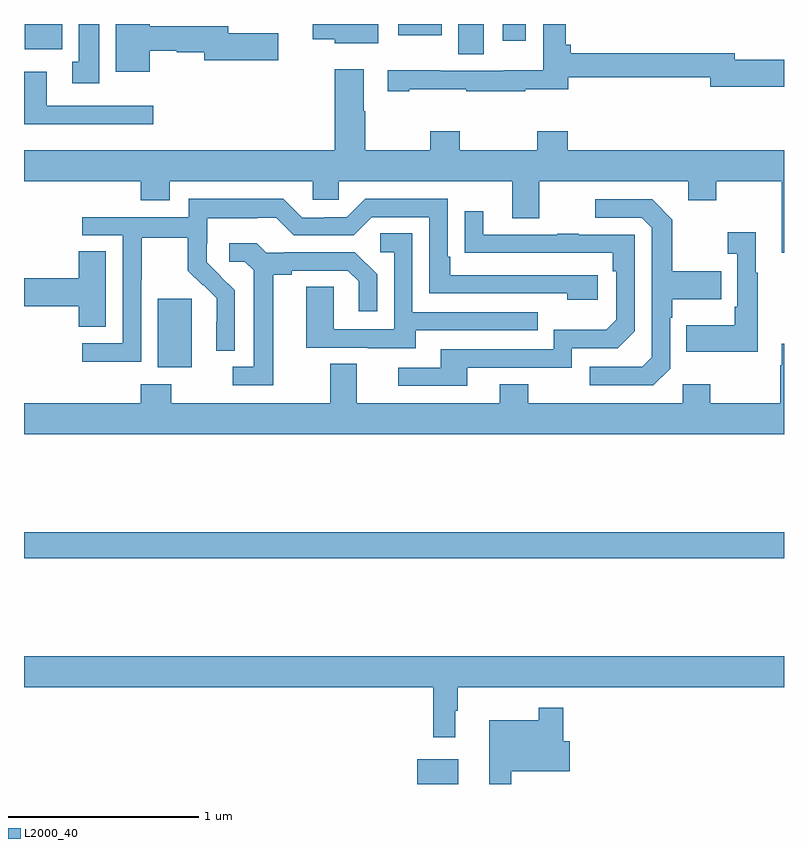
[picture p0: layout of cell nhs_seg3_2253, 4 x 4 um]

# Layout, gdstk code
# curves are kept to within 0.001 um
import gdstk
lib = gdstk.Library(unit=1e-6, precision=1e-09)
def R(c, l, rs):  # rectangles x0, y0, x1, y1
    for r in rs: c.add(gdstk.rectangle(r[:2], r[2:], *l))
def P(c, l, *ps):  # polygons
    for p in ps: c.add(gdstk.Polygon(p, *l))
L2000_40 = (2000, 40)

nhs_seg3_2253 = lib.new_cell('nhs_seg3_2253')
R(nhs_seg3_2253, L2000_40, [(229.07,708.4,229.285,708.529), (227,709.588,231,709.724), (227.705,710.594,227.884,710.955), (229.286,712.24,229.42,712.4), (227.003,712.268,227.2,712.4), (229.52,712.311,229.642,712.4), (228.971,712.34,229.198,712.4)])
P(nhs_seg3_2253, L2000_40, [(229.027,712.057),(229.327,712.057),(229.327,712.047),(229.637,712.047),(229.637,712.057),(229.864,712.057),(229.864,712.119),(230.612,712.119),(230.612,712.069),(231,712.069),(231,712.211),(230.74,712.211),(230.74,712.247),(229.877,712.247),(229.877,712.291),(229.85,712.291),(229.85,712.4),(229.734,712.4),(229.734,712.156),(229.524,712.156),(229.524,712.155),(229.19,712.155),(229.19,712.157),(228.915,712.157),(228.915,712.047),(229.027,712.047)],
  [(227.662,712.26),(227.805,712.26),(227.805,712.252),(227.948,712.252),(227.948,712.21),(228.337,712.21),(228.337,712.352),(228.076,712.352),(228.076,712.388),(227.662,712.388),(227.662,712.4),(227.483,712.4),(227.483,712.148),(227.662,712.148)],
  [(228.865,712.4),(228.521,712.4),(228.521,712.319),(228.636,712.319),(228.636,712.298),(228.865,712.298)],
  [(227.395,712.4),(227.288,712.4),(227.288,712.202),(227.255,712.202),(227.255,712.089),(227.395,712.089)],
  [(227,711.572),(227.615,711.572),(227.615,711.473),(227.767,711.473),(227.767,711.572),(228.519,711.572),(228.519,711.474),(228.657,711.474),(228.657,711.572),(229.571,711.572),(229.571,711.378),(229.711,711.378),(229.711,711.572),(230.495,711.572),(230.495,711.473),(230.643,711.473),(230.643,711.572),(230.987,711.572),(230.987,711.195),(231,711.195),(231,711.736),(229.862,711.736),(229.862,711.835),(229.702,711.835),(229.702,711.736),(229.293,711.736),(229.293,711.835),(229.138,711.835),(229.138,711.736),(228.795,711.736),(228.795,711.941),(228.787,711.941),(228.787,712.162),(228.635,712.162),(228.635,711.736),(227,711.736)],
  [(227.68,711.969),(227.119,711.969),(227.119,712.15),(227,712.15),(227,711.872),(227.68,711.872)],
  [(227.616,711.052),(227.619,711.052),(227.619,711.276),(227.863,711.276),(227.863,711.101),(227.94,711.024),(227.943,711.027),(228.014,710.957),(228.014,710.834),(228.012,710.834),(228.012,710.68),(228.108,710.68),(228.108,710.998),(227.962,711.146),(227.962,711.243),(227.964,711.243),(227.964,711.377),(228.227,711.377),(228.227,711.381),(228.327,711.381),(228.42,711.288),(228.735,711.288),(228.831,711.384),(229.134,711.384),(229.134,710.982),(229.859,710.982),(229.859,710.948),(230.02,710.948),(230.02,711.078),(229.243,711.078),(229.243,711.175),(229.23,711.175),(229.23,711.48),(228.795,711.48),(228.699,711.384),(228.581,711.384),(228.581,711.381),(228.465,711.381),(228.365,711.481),(227.868,711.481),(227.868,711.384),(227.307,711.384),(227.307,711.288),(227.52,711.288),(227.52,710.721),(227.307,710.721),(227.307,710.623),(227.616,710.623)],
  [(230.4,710.586),(230.4,710.855),(230.413,710.855),(230.413,710.951),(230.669,710.951),(230.669,711.099),(230.413,711.099),(230.413,711.371),(230.307,711.477),(230.007,711.477),(230.007,711.381),(230.25,711.381),(230.304,711.327),(230.304,710.646),(230.253,710.595),(229.977,710.595),(229.977,710.499),(230.313,710.499)],
  [(229.333,710.592),(229.884,710.592),(229.884,710.694),(230.124,710.694),(230.214,710.784),(230.214,711.291),(229.919,711.291),(229.919,711.296),(229.807,711.296),(229.807,711.291),(229.417,711.291),(229.417,711.415),(229.321,711.415),(229.321,711.196),(230.098,711.195),(230.098,711.098),(230.118,711.098),(230.118,710.844),(230.065,710.791),(229.788,710.791),(229.788,710.688),(229.193,710.688),(229.193,710.592),(228.969,710.592),(228.969,710.496),(229.333,710.496)],
  [(230.863,711.091),(230.851,711.091),(230.851,711.304),(230.703,711.304),(230.703,711.191),(230.754,711.191),(230.754,710.911),(230.742,710.911),(230.742,710.815),(230.485,710.815),(230.485,710.675),(230.863,710.675)],
  [(229.063,710.787),(229.703,710.787),(229.703,710.883),(229.044,710.883),(229.044,711.299),(228.876,711.299),(228.876,711.198),(228.948,711.198),(228.948,710.793),(228.63,710.793),(228.63,711.017),(228.485,711.017),(228.485,710.697),(228.809,710.697),(228.809,710.693),(229.063,710.693)],
  [(228.313,711.08),(228.409,711.08),(228.409,711.102),(228.704,711.102),(228.761,711.045),(228.761,710.889),(228.858,710.889),(228.858,711.082),(228.742,711.198),(228.37,711.198),(228.37,711.195),(228.276,711.195),(228.224,711.247),(228.081,711.247),(228.081,711.15),(228.162,711.15),(228.209,711.103),(228.209,710.595),(228.099,710.595),(228.099,710.499),(228.313,710.499)],
  [(227.431,711.203),(227.288,711.203),(227.288,711.062),(227,711.062),(227,710.915),(227.288,710.915),(227.288,710.806),(227.431,710.806)],
  [(231,710.716),(230.987,710.716),(230.987,710.603),(230.98,710.603),(230.98,710.404),(230.613,710.404),(230.613,710.503),(230.466,710.503),(230.466,710.404),(229.653,710.404),(229.653,710.503),(229.505,710.503),(229.505,710.404),(228.751,710.404),(228.751,710.612),(228.611,710.612),(228.611,710.404),(227.775,710.404),(227.775,710.503),(227.615,710.503),(227.615,710.404),(227,710.404),(227,710.24),(231,710.24)],
  [(229.27,708.785),(229.282,708.785),(229.282,708.908),(231,708.908),(231,709.072),(227,709.072),(227,708.908),(229.153,708.908),(229.153,708.645),(229.27,708.645)],
  [(229.565,708.467),(229.873,708.467),(229.873,708.625),(229.838,708.625),(229.838,708.802),(229.71,708.802),(229.71,708.736),(229.448,708.736),(229.448,708.4),(229.565,708.4)])

lib.write_gds('nhs_seg3_2253.gds')
